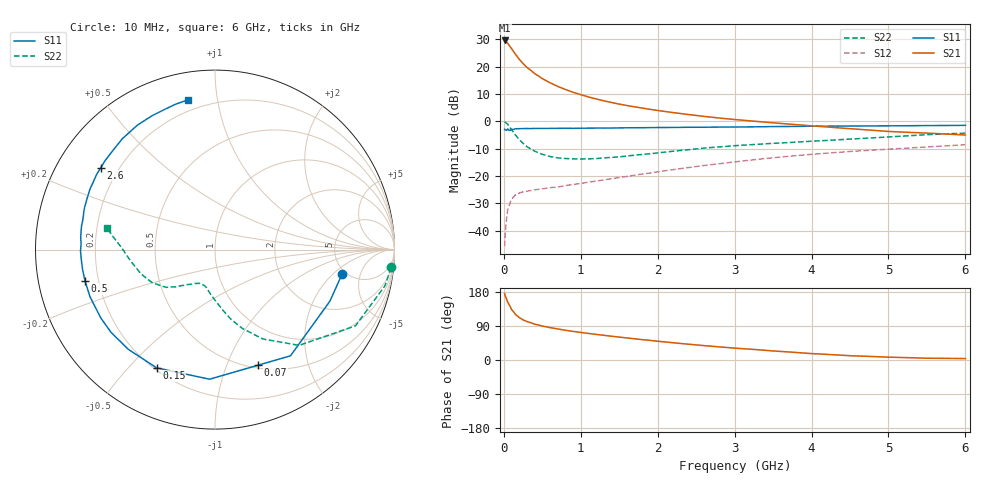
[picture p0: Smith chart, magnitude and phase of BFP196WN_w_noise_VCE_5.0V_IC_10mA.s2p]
! Infineon Technologies  Discrete & RF Semiconductors
! BFP196WN
! VCE =  5.0 V,  IC =  10 mA
! Common Emitter S-Parameters:  Jan 2017
# GHz  S  MA  R  50
!  f  S11  S21  S12  S22
! GHz  MAG  ANG  MAG  ANG  MAG  ANG  MAG  ANG
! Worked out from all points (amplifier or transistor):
!   77 points, 10 MHz to 6 GHz, reference 50 ohm
!   highest |S21| = 29.6 dB at 10 MHz (marker M1)
!   |S21| within 3 dB of that: start of sweep to 100.3 MHz
!   unconditionally stable (mu >= 1): 1.157 GHz to 2.634 GHz
!   at 130 MHz: K = 0.19, MSG = 26.5 dB, |S12| = -27.5 dB
!   at 2.2 GHz: K = 1.05, MAG = 9.1 dB, |S12| = -17.7 dB
!   at 6 GHz: K = 0.87, MSG = 1.8 dB, |S12| = -8.6 dB
!   lowest NFmin = 0.92 dB at 450 MHz
!   S11 on the Smith chart (normalised r, x): 10 MHz: 4.58, -2.64; 70 MHz: 0.53, -1.30; 150 MHz: 0.21, -0.60; 500 MHz: 0.15, -0.12; 2.6 GHz: 0.13, +0.32; 6 GHz: 0.14, +0.83
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0.01  0.7205 -11.1  30.37 175.2  0.0052 83.5  0.9865 -5.8
0.02  0.7017 -24.2  29.25 168.5  0.0095 82.5  0.9682 -12.0
0.05  0.726 -54.6  27.27 152.6  0.0238 65.9  0.8905 -28.5
0.07  0.6873 -69.5  24.65 145.9  0.0291 58.2  0.8069 -35.5
0.1  0.7228 -92.4  21.53 133.1  0.0376 50.9  0.7102 -48.7
0.15  0.7347 -116.3  17.08 120.5  0.0452 41.3  0.5653 -61.8
0.2  0.7362 -131.0  13.77 112.0  0.0487 35.9  0.4647 -70.9
0.25  0.7403 -141.5  11.47 105.9  0.0514 34.1  0.3979 -77.1
0.3  0.7416 -149.1  9.782 101.4  0.0527 32.5  0.3455 -82.1
0.4  0.7443 -159.3  7.527 94.6  0.0559 32.3  0.2854 -89.4
0.5  0.7449 -166.4  6.086 89.7  0.0584 33.9  0.2503 -95.6
0.6  0.7461 -171.5  5.103 85.5  0.0613 35.4  0.228 -100.1
0.7  0.7469 -175.7  4.379 82.0  0.0629 37.9  0.2149 -103.3
0.9  0.7467 177.4  3.42 75.5  0.0702 42.3  0.2064 -109.6
1.1  0.753 172.3  2.81 70.2  0.0773 46.4  0.2064 -114.4
1.5  0.7613 163.7  2.076 60.4  0.0939 52.5  0.2245 -122.7
2.1  0.7743 152.6  1.518 47.6  0.1252 57.3  0.2749 -133.0
2.6  0.7831 144.3  1.238 38.0  0.1558 58.6  0.3248 -140.1
3.1  0.7922 136.2  1.054 30.0  0.1882 57.5  0.3666 -147.1
4.1  0.8177 120.5  0.811 15.9  0.256 51.7  0.4413 -164.2
5.1  0.8315 108.7  0.646 7.0  0.3165 44.1  0.5299 177.6
6  0.8477 100.3  0.564 3.8  0.3735 37.3  0.6107 168.9
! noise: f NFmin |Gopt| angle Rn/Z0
0.45  0.92  0.37  146  0.05
0.9  1.09  0.52  167  0.05
1.9  2.29  0.71  206  0.13
2.4  3.04  0.72  213  0.24
